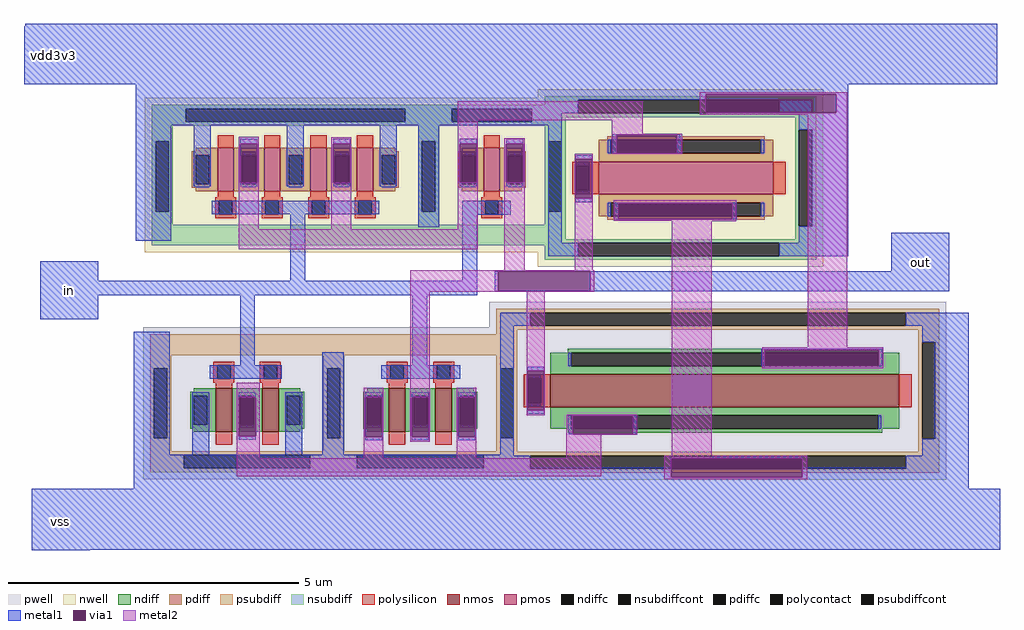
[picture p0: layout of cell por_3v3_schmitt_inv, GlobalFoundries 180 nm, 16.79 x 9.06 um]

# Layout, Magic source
magic
tech gf180mcuD
magscale 1 10
<< metal1 >>
rect 1588 309 4934 317
rect 1584 109 4934 309
rect 1969 75 4421 109
rect 1969 55 3930 75
rect 1969 43 3410 55
rect 1969 -33 3411 43
rect 4380 10 4421 75
rect 1969 -430 2090 -33
rect 2168 -243 2226 -33
rect 2328 -96 2386 -79
rect 2328 -243 2386 -230
rect 2488 -243 2546 -33
rect 2648 -96 2706 -79
rect 2648 -243 2706 -230
rect 2808 -243 2866 -33
rect 2175 -246 2221 -243
rect 2495 -246 2541 -243
rect 2815 -246 2861 -243
rect 2231 -339 2806 -292
rect 1640 -567 1840 -500
rect 2501 -567 2552 -339
rect 2940 -384 3013 -33
rect 3608 -65 3843 -64
rect 3084 -96 3142 -79
rect 3084 -242 3142 -229
rect 3244 -96 3302 -79
rect 3608 -128 3624 -65
rect 3831 -128 3843 -65
rect 3244 -242 3302 -229
rect 3482 -150 3540 -135
rect 3251 -246 3297 -242
rect 3093 -340 3260 -293
rect 3482 -297 3540 -284
rect 3614 -300 4037 -299
rect 3093 -567 3144 -340
rect 3614 -356 3630 -300
rect 4022 -356 4037 -300
rect 4281 -483 4421 10
rect 4568 -534 4768 -403
rect 1640 -618 3144 -567
rect 3204 -603 3217 -534
rect 3533 -603 4768 -534
rect 1640 -700 1840 -618
rect 1961 -1166 2085 -743
rect 2328 -859 2379 -618
rect 2224 -905 2471 -859
rect 2163 -1166 2221 -951
rect 2323 -968 2381 -951
rect 2323 -1115 2381 -1102
rect 2483 -1166 2541 -951
rect 2611 -1166 2685 -813
rect 2920 -859 2971 -618
rect 4121 -805 4538 -802
rect 2813 -905 3086 -859
rect 4121 -861 4134 -805
rect 4526 -861 4538 -805
rect 3316 -877 3374 -863
rect 2759 -968 2817 -951
rect 2759 -1117 2817 -1104
rect 2919 -968 2977 -951
rect 2919 -1117 2977 -1104
rect 3079 -968 3137 -951
rect 3316 -1025 3374 -1013
rect 3458 -1032 3693 -1031
rect 3458 -1095 3472 -1032
rect 3679 -1095 3693 -1032
rect 3079 -1117 3137 -1104
rect 1961 -1209 3240 -1166
rect 1961 -1243 3812 -1209
rect 4716 -1209 4835 -677
rect 4262 -1243 4835 -1209
rect 1961 -1284 4835 -1243
rect 1610 -1494 4943 -1284
rect 1611 -1495 1811 -1494
<< via1 >>
rect 3930 10 4380 75
rect 2328 -230 2386 -96
rect 2648 -230 2706 -96
rect 3084 -229 3142 -96
rect 3244 -229 3302 -96
rect 3624 -128 3831 -65
rect 3482 -284 3540 -150
rect 3630 -356 4022 -300
rect 3217 -603 3533 -534
rect 2323 -1102 2381 -968
rect 4134 -861 4526 -805
rect 2759 -1104 2817 -968
rect 2919 -1104 2977 -968
rect 3079 -1104 3137 -968
rect 3316 -1013 3374 -877
rect 3472 -1095 3679 -1032
rect 3812 -1243 4262 -1178
<< metal2 >>
rect 3909 75 4417 81
rect 3077 -15 3714 51
rect 3909 10 3930 75
rect 4380 10 4417 75
rect 3909 4 4417 10
rect 2323 -96 2392 -72
rect 2323 -230 2328 -96
rect 2386 -230 2392 -96
rect 2323 -390 2392 -230
rect 2642 -96 2711 -73
rect 2642 -230 2648 -96
rect 2706 -230 2711 -96
rect 2642 -390 2711 -230
rect 3077 -96 3146 -15
rect 3606 -61 3714 -15
rect 3606 -65 3849 -61
rect 3077 -229 3084 -96
rect 3142 -229 3146 -96
rect 3077 -390 3146 -229
rect 2323 -459 3146 -390
rect 3237 -96 3308 -77
rect 3237 -229 3244 -96
rect 3302 -229 3308 -96
rect 3606 -128 3624 -65
rect 3831 -128 3849 -65
rect 3237 -531 3308 -229
rect 3480 -150 3542 -130
rect 3606 -131 3849 -128
rect 3480 -284 3482 -150
rect 3540 -284 3542 -150
rect 3480 -531 3542 -284
rect 3614 -300 4036 -290
rect 3614 -356 3630 -300
rect 4022 -356 4036 -300
rect 3614 -361 4036 -356
rect 3814 -363 4036 -361
rect 2913 -534 3546 -531
rect 2913 -603 3217 -534
rect 3533 -603 3546 -534
rect 2913 -605 3546 -603
rect 2316 -968 2395 -919
rect 2316 -1102 2323 -968
rect 2381 -1102 2395 -968
rect 2316 -1178 2395 -1102
rect 2753 -968 2821 -936
rect 2753 -1104 2759 -968
rect 2817 -1104 2821 -968
rect 2753 -1178 2821 -1104
rect 2913 -968 2981 -605
rect 3314 -877 3376 -605
rect 2913 -1104 2919 -968
rect 2977 -1104 2981 -968
rect 2913 -1122 2981 -1104
rect 3073 -968 3141 -936
rect 3073 -1104 3079 -968
rect 3137 -1104 3141 -968
rect 3314 -1013 3316 -877
rect 3374 -1013 3376 -877
rect 3314 -1031 3376 -1013
rect 3452 -1032 3695 -1028
rect 3452 -1078 3472 -1032
rect 3073 -1178 3141 -1104
rect 3451 -1095 3472 -1078
rect 3679 -1095 3695 -1032
rect 3451 -1098 3695 -1095
rect 3451 -1178 3570 -1098
rect 3814 -1169 3951 -363
rect 4282 -796 4417 4
rect 4124 -805 4541 -796
rect 4124 -861 4134 -805
rect 4526 -861 4541 -805
rect 4124 -869 4541 -861
rect 2316 -1241 3570 -1178
rect 3788 -1178 4280 -1169
rect 3788 -1243 3812 -1178
rect 4262 -1243 4280 -1178
rect 3788 -1251 4280 -1243
use nfet_03v3_3DMKYT  nfet_03v3_3DMKYT_0 paramcells
transform 1 0 2948 0 -1 -989
box -358 -261 358 261
use nfet_03v3_3DMKYT  XM1
transform 1 0 2352 0 -1 -989
box -358 -261 358 261
use pfet_03v3_9U7ATZ  XM2 paramcells
transform -1 0 3194 0 1 -209
box -278 -261 278 271
use pfet_03v3_VR43ZA  XM3 paramcells
transform -1 0 2518 0 1 -209
box -518 -261 518 271
use nfet_03v3_45Z7NE  XM5 paramcells
transform 0 1 3972 1 0 -946
box -306 -786 306 786
use pfet_03v3_W2ZTV7  XM6 paramcells
transform 0 1 3838 1 0 -214
box -306 -486 306 496
<< labels >>
flabel metal1 1640 -700 1840 -500 0 FreeSans 1600 0 0 0 in
port 1 nsew
flabel metal1 1611 -1495 1811 -1295 0 FreeSans 1600 0 0 0 vss
port 3 nsew
flabel metal1 1584 109 1784 309 0 FreeSans 1600 0 0 0 vdd3v3
port 0 nsew
flabel metal1 4568 -603 4768 -403 0 FreeSans 1600 0 0 0 out
port 2 nsew
<< end >>

# cell nfet_03v3_3DMKYT: kit device nfet_03v3, w 0.75 l 0.28 m 1 nf 2 diffcov 80 polycov 100 guard 1 glc 1 grc 1 gtc 1 gbc 0 tbcov 100 rlcov 100 topc 0 botc 1 poverlap 0 doverlap 1 lmin 0.28 wmin 0.22 class mosfet full_metal 0 compatible {nfet_03v3 nfet_05v0 nfet_06v0 nfet_06v0_nvt}

# cell pfet_03v3_9U7ATZ: kit device pfet_03v3, w 0.75 l 0.28 m 1 nf 1 diffcov 80 polycov 100 guard 1 glc 1 grc 1 gtc 1 gbc 0 tbcov 100 rlcov 100 topc 0 botc 1 poverlap 0 doverlap 1 lmin 0.28 wmin 0.22 class mosfet full_metal 0 compatible {pfet_03v3 pfet_05v0 pfet_06v0}

# cell pfet_03v3_VR43ZA: kit device pfet_03v3, w 0.75 l 0.28 m 1 nf 4 diffcov 80 polycov 100 guard 1 glc 1 grc 1 gtc 1 gbc 0 tbcov 100 rlcov 100 topc 0 botc 1 poverlap 0 doverlap 1 lmin 0.28 wmin 0.22 class mosfet full_metal 0 compatible {pfet_03v3 pfet_05v0 pfet_06v0}

# cell nfet_03v3_45Z7NE: kit device nfet_03v3, w 6.0 l 0.56 m 1 nf 1 diffcov 90 polycov 100 guard 1 glc 1 grc 1 gtc 1 gbc 0 tbcov 100 rlcov 100 topc 0 botc 1 poverlap 0 doverlap 1 lmin 0.28 wmin 0.22 class mosfet full_metal 1 compatible {nfet_03v3 nfet_05v0 nfet_06v0 nfet_06v0_nvt}

# cell pfet_03v3_W2ZTV7: kit device pfet_03v3, w 3.0 l 0.56 m 1 nf 1 diffcov 90 polycov 100 guard 1 glc 1 grc 1 gtc 1 gbc 0 tbcov 100 rlcov 100 topc 0 botc 1 poverlap 0 doverlap 1 lmin 0.28 wmin 0.22 class mosfet full_metal 1 compatible {pfet_03v3 pfet_05v0 pfet_06v0}
